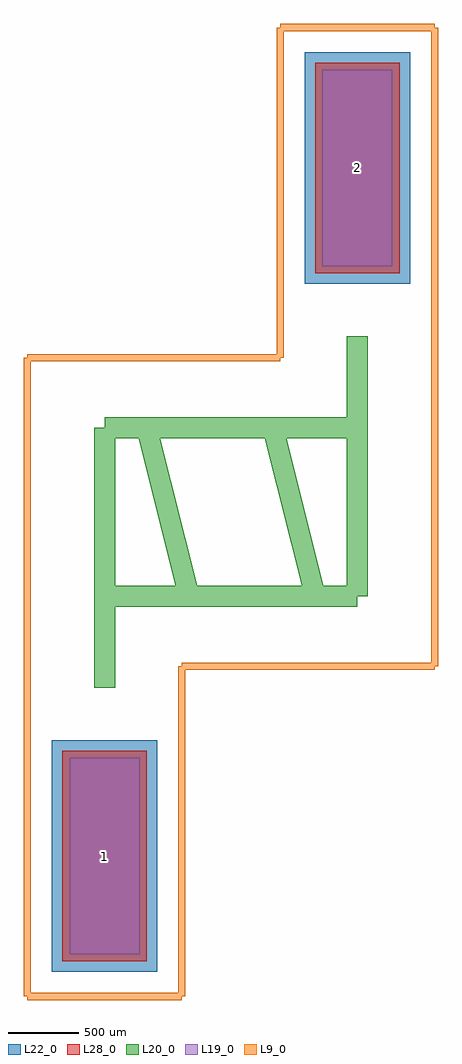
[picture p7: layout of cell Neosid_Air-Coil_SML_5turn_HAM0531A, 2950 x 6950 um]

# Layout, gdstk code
import gdstk
lib = gdstk.Library(unit=1e-6, precision=1e-09)
def R(c, l, rs):  # rectangles x0, y0, x1, y1
    for r in rs: c.add(gdstk.rectangle(r[:2], r[2:], *l))
L9_0 = (9, 0)
L19_0 = (19, 0)
L20_0 = (20, 0)
L22_0 = (22, 0)
L28_0 = (28, 0)

neosid_air_coil_sml_5tur = lib.new_cell('Neosid_Air-Coil_SML_5turn_HAM0531A')
R(neosid_air_coil_sml_5tur, L19_0, [(-1150,-3150,-650,-1750), (650,1750,1150,3150)])
R(neosid_air_coil_sml_5tur, L22_0, [(-1275,-3275,-525,-1625), (525,1625,1275,3275)])
R(neosid_air_coil_sml_5tur, L28_0, [(-1200,-3200,-600,-1700), (600,1700,1200,3200)])
neosid_air_coil_sml_5tur.add(gdstk.FlexPath([(-900,-1250),(-900,600)], 149.998, ends="flush", simple_path=True, layer=20, datatype=0))  # L20_0
neosid_air_coil_sml_5tur.add(gdstk.FlexPath([(-900,600),(900,600)], 149.998, ends="flush", simple_path=True, layer=20, datatype=0))  # L20_0
neosid_air_coil_sml_5tur.add(gdstk.FlexPath([(900,-600),(-900,-600)], 149.998, ends="flush", simple_path=True, layer=20, datatype=0))  # L20_0
neosid_air_coil_sml_5tur.add(gdstk.FlexPath([(900,-600),(900,1250)], 149.998, ends="flush", simple_path=True, layer=20, datatype=0))  # L20_0
neosid_air_coil_sml_5tur.add(gdstk.FlexPath([(300,600),(600,-600)], 149.998, ends="flush", simple_path=True, layer=20, datatype=0))  # L20_0
neosid_air_coil_sml_5tur.add(gdstk.FlexPath([(-600,600),(-300,-600)], 149.998, ends="flush", simple_path=True, layer=20, datatype=0))  # L20_0
neosid_air_coil_sml_5tur.add(gdstk.FlexPath([(-1450,1100),(-1450,-3450)], 50, ends="flush", simple_path=True, layer=9, datatype=0))  # L9_0
neosid_air_coil_sml_5tur.add(gdstk.FlexPath([(350,1100),(-1450,1100)], 50, ends="flush", simple_path=True, layer=9, datatype=0))  # L9_0
neosid_air_coil_sml_5tur.add(gdstk.FlexPath([(350,3450),(350,1100)], 50, ends="flush", simple_path=True, layer=9, datatype=0))  # L9_0
neosid_air_coil_sml_5tur.add(gdstk.FlexPath([(1450,3450),(350,3450)], 50, ends="flush", simple_path=True, layer=9, datatype=0))  # L9_0
neosid_air_coil_sml_5tur.add(gdstk.FlexPath([(1450,-1100),(1450,3450)], 50, ends="flush", simple_path=True, layer=9, datatype=0))  # L9_0
neosid_air_coil_sml_5tur.add(gdstk.FlexPath([(-350,-1100),(1450,-1100)], 50, ends="flush", simple_path=True, layer=9, datatype=0))  # L9_0
neosid_air_coil_sml_5tur.add(gdstk.FlexPath([(-350,-3450),(-350,-1100)], 50, ends="flush", simple_path=True, layer=9, datatype=0))  # L9_0
neosid_air_coil_sml_5tur.add(gdstk.FlexPath([(-1450,-3450),(-350,-3450)], 50, ends="flush", simple_path=True, layer=9, datatype=0))  # L9_0
neosid_air_coil_sml_5tur.add(gdstk.Label('2', (900,2450), layer=28, texttype=0))
neosid_air_coil_sml_5tur.add(gdstk.Label('1', (-900,-2450), layer=28, texttype=0))
neosid_air_coil_sml_5tur.add(gdstk.Label('type', (0,-4500), layer=9, texttype=0))
neosid_air_coil_sml_5tur.add(gdstk.Label('devicename', (0,4500), layer=9, texttype=0))

lib.write_gds('Neosid_Air-Coil_SML_5turn_HAM0531A.gds')
